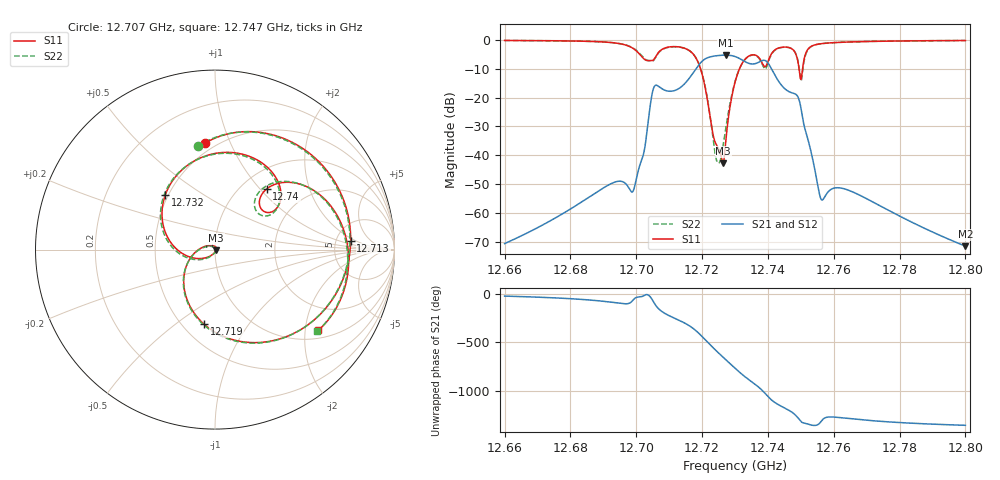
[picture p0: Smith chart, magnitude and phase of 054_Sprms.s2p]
! TOUCHSTONE file generated by CST MICROWAVE STUDIO
! Date and time: Wed Jul 31 13:24:43 2024
! Project name: WaveGuide_BPF-Ver4.1_U-shape_Ku_T3_C4_CWA_2.cst
! Parameters = {cavity_h=16; cavity_l0=10; cavity_l1=15.1694; cavity_l2=16.8579; cavity_l3=17.1309; cavity_l4=17.2467; cavity_l5=17.1228; cavity_l6=17.6198; cavity_r=2.5; cavity_screw_l=0.5; cavity_screw_r=1.5; cavity_w=8; iris_h00=0; iris_h01=8.842; iris_h112=0; iris_h12=5.6136; iris_h211=3.6512; i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
! Header version: 2018
! Port assignment regex: !\s*Touchstone port\s*([0-9]+)\s*=\s*(CST MWS port|CST DS port)\s*([0-9]+|Zmin|Zmax)\s*\(\"(.*)\"\)(\s*mode\s*([0-9]+))?.*
! Touchstone port assignment:
! Touchstone port 1 = CST MWS port 1 ("")
! Touchstone port 2 = CST MWS port 2 ("")
# GHz S RI R 50
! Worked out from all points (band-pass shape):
!   5001 points, 12.66 GHz to 12.8 GHz, reference 50 ohm
!   highest |S21| = -5.26 dB at 12.727 GHz (marker M1); lowest = -71.6 dB at 12.8 GHz (marker M2)
!   |S21| within 3 dB of the highest: 12.71927 GHz to 12.73471 GHz (15.44 MHz wide, 0.121 % of centre); 12.73595 GHz to 12.74019 GHz (4.236 MHz wide, 0.0333 % of centre)
!   lowest |S11| = -42.8 dB at 12.726 GHz (marker M3), VSWR 1.01, Z = 50.7 - j0.315 ohm
!   |S11| at or under -10 dB: 12.71953 GHz to 12.73135 GHz (11.83 MHz wide, 0.0929 % of centre); 12.74947 GHz to 12.75053 GHz (1.059 MHz wide, 0.00831 % of centre)
!   |S22| runs from -42.8 to -0.2 dB; largest |S21 - S12| = 1e-09
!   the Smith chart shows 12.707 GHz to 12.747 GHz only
!   S11 on the Smith chart (normalised r, x): 12.707 GHz: 0.44, +0.81; 12.713 GHz: 6.86, +1.63; 12.719 GHz: 0.63, -0.64; 12.732 GHz: 0.48, +0.35; 12.74 GHz: 1.29, +1.09; 12.747 GHz: 1.22, -2.35
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12.66  0.3225 0.9267  0.000268 -0.000116  0.000268 -0.000116  0.3229 0.9265
12.68335  0.7443 0.5964  0.000827 -0.0013  0.000827 -0.0013  0.7474 0.5921
12.69494  0.8589 -0.0946  -0.000483 -0.00351  -0.000483 -0.00351  0.8604 -0.0989
12.70015  0.2067 -0.6026  0.00339 -0.00246  0.00339 -0.00246  0.232 -0.6099
12.70309  -0.4349 -0.0798  0.0215 -0.00283  0.0215 -0.00283  -0.4294 -0.1381
12.70662  -0.0559 0.5928  -0.1357 -0.083  -0.1357 -0.083  -0.095 0.5753
12.70668  -0.0449 0.5993  -0.1379 -0.0778  -0.1379 -0.0778  -0.084 0.5826
12.71298  0.756 0.0506  0.00684 0.1439  0.00684 0.1439  0.7519 0.0541
12.71872  -0.0609 -0.4156  0.2771 -0.2177  0.2771 -0.2177  -0.0629 -0.4191
12.72292  -0.0208 0.0228  -0.516 0.0206  -0.516 0.0206  -0.0239 0.0183
12.72639  0.00653 -0.0031  0.2303 0.4933  0.2303 0.4933  0.000761 -0.0147
12.72712  -0.00158 -0.0157  0.4046 0.3659  0.4046 0.3659  -0.00938 -0.0259
12.73  -0.1825 -0.0214  0.3472 -0.3827  0.3472 -0.3827  -0.1857 -0.0304
12.73238  -0.2775 0.3033  -0.2098 -0.3889  -0.2098 -0.3889  -0.2886 0.2894
12.7377  0.365 0.2759  -0.0798 0.4175  -0.0798 0.4175  0.3574 0.2602
12.74016  0.289 0.3389  0.3777 0.089  0.3777 0.089  0.2592 0.3349
12.74669  0.5749 -0.4503  -0.0787 -0.0966  -0.0787 -0.0966  0.57 -0.4545
12.75008  0.1638 -0.1309  -0.0323 0.0553  -0.0323 0.0553  0.1304 -0.1465
12.75335  0.5102 -0.5975  0.00113 0.00984  0.00113 0.00984  0.5029 -0.5953
12.7564  0.1951 -0.8432  -0.00114 0.00122  -0.00114 0.00122  0.1822 -0.8449
12.77668  -0.8766 -0.3801  -0.000509 0.00098  -0.000509 0.00098  -0.8809 -0.3716
12.8  -0.9609 0.1866  3.61e-05 0.000261  3.61e-05 0.000261  -0.9606 0.1893
